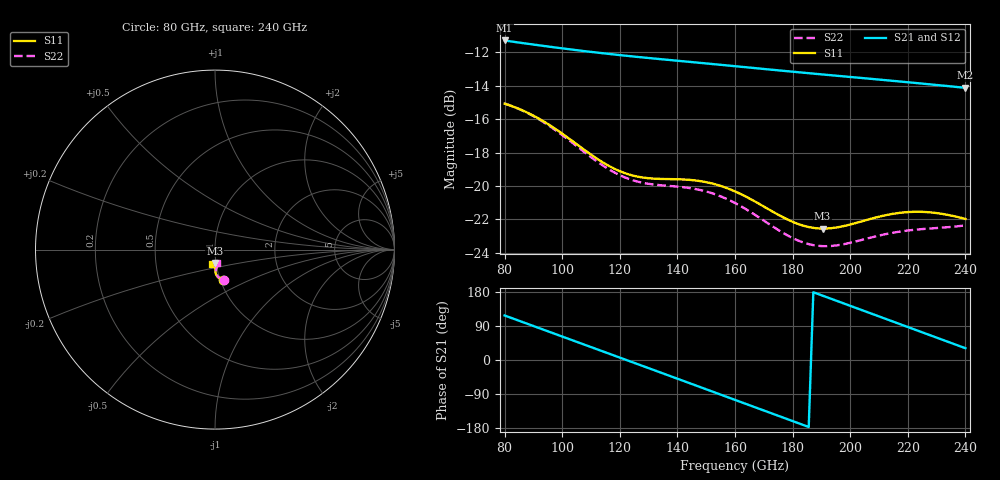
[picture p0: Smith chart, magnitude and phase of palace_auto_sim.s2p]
#  GHZ S DB R 50
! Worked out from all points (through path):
!   101 points, 80 GHz to 240 GHz, reference 50 ohm
!   highest |S21| = -11.28 dB at 80 GHz (marker M1); lowest = -14.1 dB at 240 GHz (marker M2)
!   group delay of S21, straight-line fit = 7.75 ps
!   lowest |S11| = -22.6 dB at 190.4 GHz (marker M3), VSWR 1.16, Z = 49.3 - j7.39 ohm
!   |S11| at or under -10 dB: start of sweep to end of sweep
!   |S22| runs from -23.6 to -15.1 dB; largest |S21 - S12| = 0
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80  -15.06 -75.6  -11.28 117.5  -11.28 117.5  -15.06 -74.3
86.4  -15.49 -79.4  -11.44 99.7  -11.44 99.7  -15.50 -78.2
92.8  -16.06 -83.2  -11.59 81.9  -11.59 81.9  -16.10 -82.0
99.2  -16.77 -86.4  -11.73 64.1  -11.73 64.1  -16.85 -85.3
107.2  -17.77 -88.7  -11.91 41.9  -11.91 41.9  -17.91 -87.6
113.6  -18.53 -88.8  -12.03 24.1  -12.03 24.1  -18.72 -87.8
120  -19.12 -87.8  -12.16 6.3  -12.16 6.3  -19.36 -86.7
126.4  -19.45 -86.5  -12.27 -11.5  -12.27 -11.5  -19.75 -85.3
134.4  -19.58 -85.9  -12.40 -33.7  -12.40 -33.7  -19.96 -84.6
147.2  -19.69 -88.9  -12.61 -69.5  -12.61 -69.5  -20.22 -87.2
153.6  -19.92 -91.6  -12.71 -87.4  -12.71 -87.4  -20.53 -89.6
160  -20.33 -94.1  -12.82 -105.3  -12.82 -105.3  -21.02 -91.8
166.4  -20.88 -96.0  -12.93 -123.1  -12.93 -123.1  -21.67 -93.1
174.4  -21.67 -96.3  -13.06 -145.5  -13.06 -145.5  -22.57 -92.6
180.8  -22.21 -94.8  -13.16 -163.4  -13.16 -163.4  -23.19 -90.2
187.2  -22.52 -92.2  -13.27 178.8  -13.27 178.8  -23.55 -86.6
190.4  -22.56 -90.8  -13.32 169.8  -13.32 169.8  -23.61 -84.7
203.2  -22.16 -88.0  -13.52 134.1  -13.52 134.1  -23.27 -79.7
214.4  -21.69 -90.1  -13.69 102.7  -13.69 102.7  -22.82 -79.3
220.8  -21.56 -92.7  -13.80 84.8  -13.80 84.8  -22.66 -80.0
227.2  -21.58 -95.6  -13.90 66.9  -13.90 66.9  -22.56 -80.7
240  -21.98 -100.9  -14.12 31.1  -14.12 31.1  -22.36 -81.6
